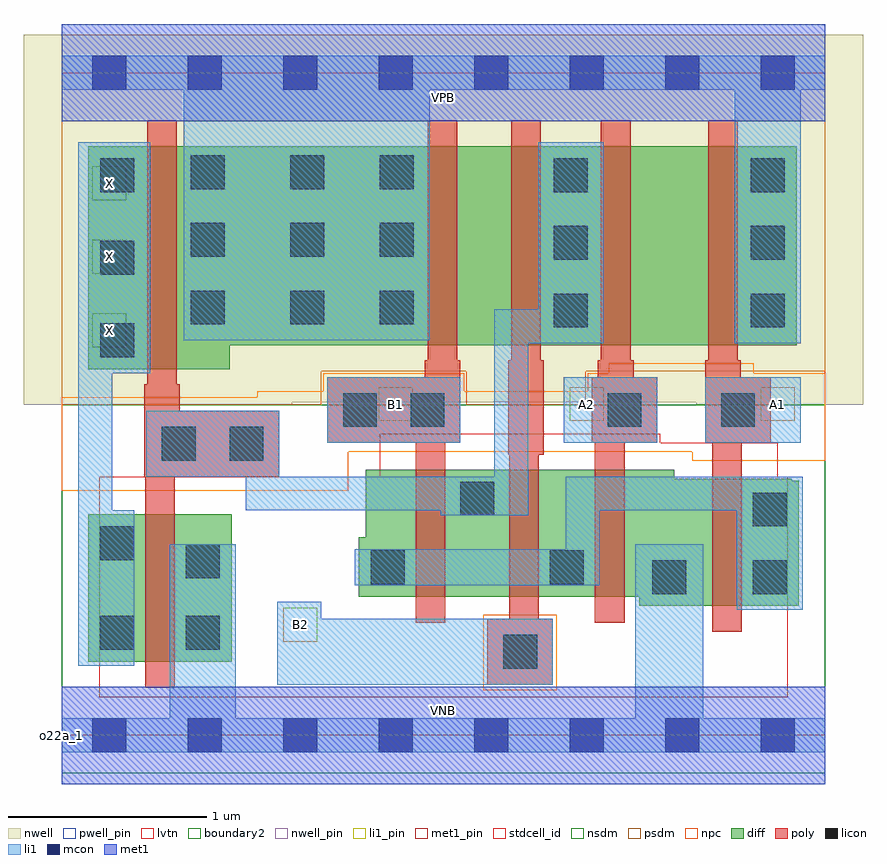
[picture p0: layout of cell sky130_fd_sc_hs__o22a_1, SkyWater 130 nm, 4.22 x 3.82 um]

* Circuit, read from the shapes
.subckt sky130_fd_sc_hs__o22a_1 A1 A2 B1 B2 VGND VNB VPB VPWR X
XM1 VGND n1 X VNB sky130_fd_pr__nfet_01v8_lvt w=0.74 l=0.15
XM2 n1 B1 n2 VNB sky130_fd_pr__nfet_01v8_lvt w=0.64 l=0.15
XM3 n2 B2 n1 VNB sky130_fd_pr__nfet_01v8_lvt w=0.64 l=0.15
XM4 VGND A2 n2 VNB sky130_fd_pr__nfet_01v8_lvt w=0.64 l=0.15
XM5 n2 A1 VGND VNB sky130_fd_pr__nfet_01v8_lvt w=0.64 l=0.15
XM6 VPWR n1 X VPB sky130_fd_pr__pfet_01v8 w=1.12 l=0.15
XM7 n3 B1 VPWR VPB sky130_fd_pr__pfet_01v8 w=1 l=0.15
XM8 n1 B2 n3 VPB sky130_fd_pr__pfet_01v8 w=1 l=0.15
XM9 n4 A2 n1 VPB sky130_fd_pr__pfet_01v8 w=1 l=0.15
XM10 VPWR A1 n4 VPB sky130_fd_pr__pfet_01v8 w=1 l=0.15
.ends

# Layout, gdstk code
import gdstk
lib = gdstk.Library(unit=1e-6, precision=1e-09)
def R(c, l, rs):  # rectangles x0, y0, x1, y1
    for r in rs: c.add(gdstk.rectangle(r[:2], r[2:], *l))
def A(c, l, x, y, w, h, nx, ny, dx, dy):  # array of equal rectangles
    R(c, l, [(x+i*dx, y+j*dy, x+i*dx+w, y+j*dy+h) for i in range(nx) for j in range(ny)])
def P(c, l, *ps):  # polygons
    for p in ps: c.add(gdstk.Polygon(p, *l))
nwell_pin = (64, 16)
nwell = (64, 20)
diff = (65, 20)
poly = (66, 20)
licon = (66, 44)
li1_pin = (67, 16)
li1 = (67, 20)
mcon = (67, 44)
met1_pin = (68, 16)
met1 = (68, 20)
stdcell_id = (81, 4)
nsdm = (93, 44)
psdm = (94, 20)
npc = (95, 20)
pwell_pin = (122, 16)
lvtn = (125, 44)
boundary2 = (236, 0)

sky130_fd_sc_hs__o22a_1 = lib.new_cell('sky130_fd_sc_hs__o22a_1')
R(sky130_fd_sc_hs__o22a_1, nwell_pin, [(0,3.085,3.84,3.33)])
P(sky130_fd_sc_hs__o22a_1, nwell, [(4.03,3.52),(-0.19,3.52),(-0.19,1.66),(1.16,1.66),(1.16,1.675),(3.19,1.675),(3.19,1.66),(4.03,1.66)])
R(sky130_fd_sc_hs__o22a_1, diff, [(0.135,0.37,0.855,1.11)])
P(sky130_fd_sc_hs__o22a_1, diff, [(3.695,2.96),(0.135,2.96),(0.135,1.84),(0.845,1.84),(0.845,1.96),(3.695,1.96)],
  [(3.705,1.28),(3.67,1.28),(3.67,1.29),(3.08,1.29),(3.08,1.335),(1.53,1.335),(1.53,0.995),(1.495,0.995),(1.495,0.695),(2.905,0.695),(2.905,0.65),(3.705,0.65)])
P(sky130_fd_sc_hs__o22a_1, poly, [(3.565,1.8),(3.415,1.8),(3.415,1.885),(3.4,1.885),(3.4,3.09),(3.25,3.09),(3.25,1.885),(3.235,1.885),(3.235,1.47),(3.27,1.47),(3.27,0.52),(3.42,0.52),(3.42,1.47),(3.565,1.47)],
  [(2.995,1.8),(2.875,1.8),(2.875,1.885),(2.86,1.885),(2.86,3.09),(2.71,3.09),(2.71,1.885),(2.695,1.885),(2.695,1.8),(2.665,1.8),(2.665,1.47),(2.68,1.47),(2.68,0.565),(2.83,0.565),(2.83,1.47),(2.995,1.47)],
  [(2.47,0.585),(2.4,0.585),(2.4,1.41),(2.425,1.41),(2.425,1.885),(2.41,1.885),(2.41,3.09),(2.26,3.09),(2.26,1.885),(2.245,1.885),(2.245,1.41),(2.25,1.41),(2.25,0.585),(2.14,0.585),(2.14,0.255),(2.47,0.255)],
  [(2.005,1.885),(1.99,1.885),(1.99,3.09),(1.84,3.09),(1.84,1.885),(1.825,1.885),(1.825,1.8),(1.335,1.8),(1.335,1.47),(1.78,1.47),(1.78,0.565),(1.93,0.565),(1.93,1.47),(2.005,1.47)],
  [(1.095,1.63),(0.595,1.63),(0.595,1.765),(0.58,1.765),(0.58,3.09),(0.43,3.09),(0.43,1.765),(0.415,1.765),(0.415,1.3),(0.42,1.3),(0.42,0.24),(0.57,0.24),(0.57,1.3),(1.095,1.3)])
A(sky130_fd_sc_hs__o22a_1, licon, 0.195, 1.9, 0.17, 0.17, 1, 3, 0, 0.415)
A(sky130_fd_sc_hs__o22a_1, licon, 2.475, 2.05, 0.17, 0.17, 1, 3, 0, 0.34)
A(sky130_fd_sc_hs__o22a_1, licon, 3.465, 2.05, 0.17, 0.17, 1, 3, 0, 0.34)
A(sky130_fd_sc_hs__o22a_1, licon, 0.65, 2.065, 0.17, 0.17, 1, 3, 0, 0.34)
A(sky130_fd_sc_hs__o22a_1, licon, 1.15, 2.065, 0.17, 0.17, 1, 3, 0, 0.34)
A(sky130_fd_sc_hs__o22a_1, licon, 1.6, 2.065, 0.17, 0.17, 1, 3, 0, 0.34)
R(sky130_fd_sc_hs__o22a_1, licon, [(2.22,0.335,2.39,0.505), (0.195,0.43,0.365,0.6), (0.625,0.43,0.795,0.6), (2.97,0.71,3.14,0.88), (3.475,0.71,3.645,0.88), (1.555,0.76,1.725,0.93), (2.455,0.76,2.625,0.93), (0.625,0.79,0.795,0.96), (0.195,0.88,0.365,1.05), (3.475,1.05,3.645,1.22), (2.005,1.105,2.175,1.275), (0.505,1.38,0.675,1.55), (0.845,1.38,1.015,1.55), (1.415,1.55,1.585,1.72), (1.755,1.55,1.925,1.72), (2.745,1.55,2.915,1.72), (3.315,1.55,3.485,1.72)])
A(sky130_fd_sc_hs__o22a_1, li1_pin, 1.595, 1.58, 0.17, 0.17, 3, 1, 0.96, 0)
A(sky130_fd_sc_hs__o22a_1, li1_pin, 0.155, 1.95, 0.17, 0.17, 1, 3, 0, 0.37)
R(sky130_fd_sc_hs__o22a_1, li1_pin, [(1.115,0.47,1.285,0.64)])
R(sky130_fd_sc_hs__o22a_1, li1, [(1.335,1.47,2.005,1.8), (2.525,1.47,2.995,1.8), (3.235,1.47,3.715,1.8)])
P(sky130_fd_sc_hs__o22a_1, li1, [(3.385,1.97),(3.385,3.245),(1.85,3.245),(1.85,1.985),(0.615,1.985),(0.615,3.245),(0,3.245),(0,3.415),(3.84,3.415),(3.84,3.245),(3.715,3.245),(3.715,1.97)],
  [(0.545,0.085),(0.545,0.96),(0.875,0.96),(0.875,0.085),(2.885,0.085),(2.885,0.96),(3.225,0.96),(3.225,0.085),(3.84,0.085),(3.84,-0.085),(0,-0.085),(0,0.085)],
  [(0.085,2.98),(0.445,2.98),(0.445,1.82),(0.255,1.82),(0.255,1.13),(0.365,1.13),(0.365,0.35),(0.085,0.35)],
  [(2.535,1.3),(3.725,1.3),(3.725,0.63),(3.395,0.63),(3.395,1.13),(2.705,1.13),(2.705,0.755),(1.475,0.755),(1.475,0.935),(2.535,0.935)],
  [(0.425,1.3),(0.425,1.63),(1.095,1.63),(1.095,1.3),(2.175,1.3),(2.175,2.14),(2.395,2.14),(2.395,2.98),(2.725,2.98),(2.725,1.97),(2.345,1.97),(2.345,1.105),(1.905,1.105),(1.905,1.13),(0.925,1.13),(0.925,1.3)],
  [(1.085,0.255),(1.085,0.67),(1.305,0.67),(1.305,0.585),(2.47,0.585),(2.47,0.255)])
A(sky130_fd_sc_hs__o22a_1, mcon, 0.155, -0.085, 0.17, 0.17, 8, 2, 0.48, 3.33)
R(sky130_fd_sc_hs__o22a_1, met1_pin, [(0,0,3.84,0.245), (0,3.085,3.84,3.33)])
R(sky130_fd_sc_hs__o22a_1, met1, [(0,-0.245,3.84,0.245), (0,3.085,3.84,3.575)])
R(sky130_fd_sc_hs__o22a_1, stdcell_id, [(0,0,3.84,3.33)])
R(sky130_fd_sc_hs__o22a_1, nsdm, [(0,-0.19,3.84,1.66)])
P(sky130_fd_sc_hs__o22a_1, psdm, [(3.84,3.52),(0,3.52),(0,1.66),(1.305,1.66),(1.305,1.83),(2.035,1.83),(2.035,1.66),(2.635,1.66),(2.635,1.83),(3.84,1.83)])
R(sky130_fd_sc_hs__o22a_1, npc, [(2.12,0.225,2.49,0.605)])
P(sky130_fd_sc_hs__o22a_1, npc, [(3.84,1.82),(3.48,1.82),(3.48,1.87),(2.75,1.87),(2.75,1.82),(2.645,1.82),(2.645,1.73),(2.025,1.73),(2.025,1.82),(1.315,1.82),(1.315,1.73),(0.985,1.73),(0.985,1.7),(0,1.7),(0,1.23),(1.44,1.23),(1.44,1.425),(3.17,1.425),(3.17,1.38),(3.84,1.38)])
R(sky130_fd_sc_hs__o22a_1, pwell_pin, [(0,0,3.84,0.245)])
P(sky130_fd_sc_hs__o22a_1, lvtn, [(3.65,1.3),(3.6,1.3),(3.6,1.47),(3.01,1.47),(3.01,1.515),(1.6,1.515),(1.6,1.3),(0.19,1.3),(0.19,0.19),(3.65,0.19)])
R(sky130_fd_sc_hs__o22a_1, boundary2, [(0,0,3.84,3.33)])
sky130_fd_sc_hs__o22a_1.add(gdstk.Label('o22a_1', (0,0), layer=83, texttype=44))
sky130_fd_sc_hs__o22a_1.add(gdstk.Label('VNB', (1.92,0.123), layer=64, texttype=59))
sky130_fd_sc_hs__o22a_1.add(gdstk.Label('VPB', (1.92,3.208), layer=64, texttype=5))
sky130_fd_sc_hs__o22a_1.add(gdstk.Label('VPWR', (1.92,3.208), layer=68, texttype=5))
sky130_fd_sc_hs__o22a_1.add(gdstk.Label('VGND', (1.92,0.123), layer=68, texttype=5))
sky130_fd_sc_hs__o22a_1.add(gdstk.Label('X', (0.24,2.035), layer=67, texttype=5))
sky130_fd_sc_hs__o22a_1.add(gdstk.Label('X', (0.24,2.405), layer=67, texttype=5))
sky130_fd_sc_hs__o22a_1.add(gdstk.Label('X', (0.24,2.775), layer=67, texttype=5))
sky130_fd_sc_hs__o22a_1.add(gdstk.Label('B1', (1.68,1.665), layer=67, texttype=5))
sky130_fd_sc_hs__o22a_1.add(gdstk.Label('A2', (2.64,1.665), layer=67, texttype=5))
sky130_fd_sc_hs__o22a_1.add(gdstk.Label('B2', (1.2,0.555), layer=67, texttype=5))
sky130_fd_sc_hs__o22a_1.add(gdstk.Label('A1', (3.6,1.665), layer=67, texttype=5))

lib.write_gds('sky130_fd_sc_hs__o22a_1.gds')
